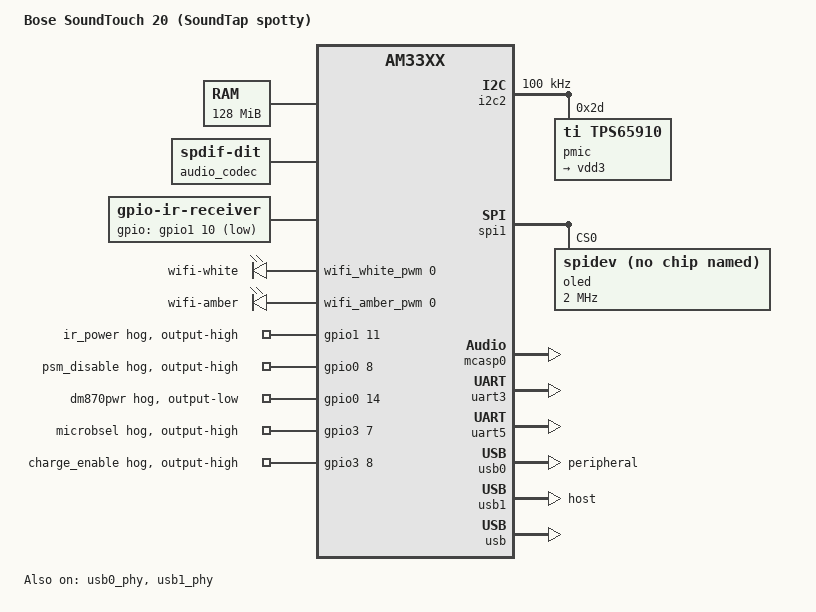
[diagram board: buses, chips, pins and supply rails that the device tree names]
// SPDX-License-Identifier: GPL-2.0-only
// SPDX-FileCopyrightText: 2026 SoundTap contributors
/dts-v1/;

#include "am33xx.dtsi"
#include <dt-bindings/gpio/gpio.h>
#include <dt-bindings/pinctrl/am33xx.h>
#include "am335x-soundtap-ramoops.dtsi"
/*
 * Persistent storage opens read-write, as on the Wireless Link. Read-only, the boot
 * script put a tmpfs over /mnt/nv, so wifi-independent settings, presets, the Spotify
 * login and the Dropbear host key were lost on every boot. The volume is shared with
 * stock and SoundTap writes only its own names in it; UBIFS keeps the on-flash format
 * version on a read-write mount, so stock's 3.14 kernel still mounts it.
 */
#define SOUNDTAP_NAND_PERSISTENT_RW soundtap,writable
/*
 * The environment opens too: stock U-Boot sets rt_try before it chainloads
 * mainline U-Boot and boots stock when the flag survives, so soundtapd has to be
 * able to clear it. Read-only, flash_erase failed with EACCES (2026-09-25) and
 * every second boot fell back to stock.
 */
#define SOUNDTAP_NAND_ENV_RW soundtap,writable
/*
 * The Ping/Pong pairs open so the stock installer's inactive slot can be rewritten.
 */
#define SOUNDTAP_NAND_SLOT_RW soundtap,writable
/*
 * SPL and U-Boot open as well, as on the WLA and ST10: /api/firmware replaces the boot
 * chain from Linux. The shared .dtsi defaults them read-only, so this must stay explicit.
 */
#define SOUNDTAP_NAND_BOOT_RW soundtap,writable
#include "am335x-soundtap-nand.dtsi"

/ {
	model = "Bose SoundTouch 20 (SoundTap spotty)";
	compatible = "bose,spotty-scm", "ti,am33xx";

	aliases {
		serial3 = &uart3;
		serial0 = &uart5;
	};

	chosen {
		stdout-path = "serial3:115200n8";
		bootargs = "console=ttyS3,115200n8 root=ubi0:rootfs ro rootfstype=ubifs ubi.mtd=9,2048 rootwait init=/init mem=128M cma=8M panic=10 omap_wdt.early_enable=1 variant=spotty module_type=scm country=GB region=GB soundtap.nandroot=1 soundtap.watchdog=90";
	};

	memory@80000000 {
		device_type = "memory";
		reg = <0x80000000 0x08000000>;
	};

	audio_codec: audio-codec {
		compatible = "linux,spdif-dit";
		#sound-dai-cells = <0>;
	};

	/* Same receiver, same pad as the ST10: uart0_rxd as gpio1_10, decoded by rc-core. */
	ir-receiver {
		compatible = "gpio-ir-receiver";
		gpios = <&gpio1 10 GPIO_ACTIVE_LOW>;
		pinctrl-names = "default";
		pinctrl-0 = <&ir_pins>;
		linux,autosuspend-period = <125>;
	};

	/*
	 * The Wi-Fi lamp above the OLED. Stock's spotty_scm shelbyleds drives uledw (white)
	 * from DM timer 5 and uledy (amber) from DM timer 6, each on its MDIO pad in mode 1,
	 * so both are PWM lamps, as the ST10's Wi-Fi white is. Same labels as the ST10, so
	 * soundtapd writes them the same way; brightness 0..255. Stock's uledg/uledr GPIOs
	 * (gpio1_19, gpio1_30) are left out until hardware shows they light anything.
	 */
	wifi_white_pwm: dmtimer-pwm-white {
		compatible = "ti,omap-dmtimer-pwm";
		#pwm-cells = <3>;
		ti,timers = <&timer5>;
		pinctrl-names = "default";
		pinctrl-0 = <&wifi_white_pwm_pins>;
	};

	wifi_amber_pwm: dmtimer-pwm-amber {
		compatible = "ti,omap-dmtimer-pwm";
		#pwm-cells = <3>;
		ti,timers = <&timer6>;
		pinctrl-names = "default";
		pinctrl-0 = <&wifi_amber_pwm_pins>;
	};

	pwm-leds {
		compatible = "pwm-leds";

		wifi-white {
			label = "wifi-white";
			pwms = <&wifi_white_pwm 0 1000000 0>;
			max-brightness = <255>;
			/* A dark speaker reads as a dead one, and soundtapd takes this lamp over later. */
			default-state = "on";
		};

		wifi-amber {
			label = "wifi-amber";
			pwms = <&wifi_amber_pwm 0 1000000 0>;
			max-brightness = <255>;
			default-state = "off";
		};
	};

	sound {
		compatible = "bose,soundtap-mcasp-audio";
		audio-cpu = <&mcasp0>;
		audio-codec = <&audio_codec>;
	};
};

/*
 * No UART driver for the infrared receiver: the ST10 route instead, proven there with a
 * remote. The UART-sampling driver bound here and produced /dev/ir, and a remote in front
 * of the ST20 produced no key event at all (2026-09-24).
 */
&gpio1 {
	/* What stock leaves high through UART0's idle transmit line; see ir_pins. */
	ir-power-hog {
		gpio-hog;
		gpios = <11 GPIO_ACTIVE_HIGH>;
		output-high;
		line-name = "ir_power";
	};
};

/*
 * GPIO2 holds the panel's reset (gpio2_18) and chip enable (gpio2_24) as U-Boot's boot
 * frame left them (ADR 0131). ti-sysc soft-reset the module ~0.7 s into boot, which turned
 * both into inputs and blanked the panel until soundtapd opened it some 13 s later (a bench
 * report). The target module has no label in am33xx-l4.dtsi, hence the path.
 */
&{/ocp/interconnect@48000000/segment@100000/target-module@ac000} {
	ti,no-reset-on-init;
};

/*
 * Every group here goes through AM33XX_PADCONF(pa, conf, mux), which takes the
 * *absolute* pad-control address and subtracts the 0x800 pinmux base itself. Raw cells
 * holding absolute addresses are rejected by pinctrl-single ("mux offset out of range":
 * am33xx_pinmux covers reg = <0x44e10800 0x238>) and the pads stay in their power-on
 * function. Use the macro; never the raw cells.
 *
 * The conf|mux values are byte-for-byte the stock spotty_scm.dtb groups
 * (spi0_pins_default, mcasp0_pins_default, gpiodev_pins_default).
 */
&am33xx_pinmux {
	/* The SCM wires NAND WP# to gpmc_wpn (stock spotty_scm nandflash_pins: 0x74 0x20); the
	 * SM2 modules (ST10, WLA) use that pad for Wi-Fi, so it stays out of the shared
	 * nand_pins. Unmuxed, WP# sits low and every erase and write is a silent no-op: under
	 * stock's bootloader it only worked because Bose's U-Boot had muxed it already. */
	nand_wp_pins: pinmux-nand-wp-pins {
		pinctrl-single,pins = <
			AM33XX_PADCONF(AM335X_PIN_GPMC_WPN, PIN_INPUT_PULLDOWN, MUX_MODE0)
		>;
	};

	ir_pins: pinmux-ir-pins {
		pinctrl-single,pins = <
			AM33XX_PADCONF(0x970, PIN_INPUT_PULLUP, MUX_MODE7)	/* uart0_rxd as gpio1_10 */
			AM33XX_PADCONF(0x974, PIN_OUTPUT, MUX_MODE7)	/* uart0_txd as gpio1_11, hogged high */
		>;
	};

	usb0_pins: pinmux-usb0-pins {
		pinctrl-single,pins = <
			AM33XX_PADCONF(0xa1c, 0x00, MUX_MODE0) /* usb0_drvvbus */
			AM33XX_PADCONF(0x910, 0x30, MUX_MODE7) /* mii1_rxerr, gpio3_2 */
		>;
	};

	usb1_pins: pinmux-usb1-pins {
		pinctrl-single,pins = <
			AM33XX_PADCONF(0xa34, 0x00, MUX_MODE0) /* usb1_drvvbus */
		>;
	};

	microbsel_pins: pinmux-microbsel-pins {
		pinctrl-single,pins = <
			AM33XX_PADCONF(0x9e4, 0x10, MUX_MODE7) /* microbsel     gpio3_7 */
			AM33XX_PADCONF(0x9e8, 0x10, MUX_MODE7) /* charge_enable gpio3_8 */
		>;
	};

	power_control_pins: pinmux-power-control-pins {
		pinctrl-single,pins = <
			AM33XX_PADCONF(0x8d0, 0x08, MUX_MODE7) /* psm_disable gpio0_8  */
			AM33XX_PADCONF(0x980, 0x10, MUX_MODE7) /* dm870pwr    gpio0_14 */
			/*
			 * clkout1: the BCO's reference clock. Stock U-Boot muxes it; the pad resets
			 * to GPIO, so without this line the BCO never enumerates when our SPL
			 * runs from the ROM. Measured 2026-09-27: with this pad at MODE7 there is
			 * no cdc_ether, and MODE3 a few seconds after BCO power-on brings the LAN
			 * up in 6 s with no power cycle needed.
			 */
			AM33XX_PADCONF(0x9b0, 0x00, MUX_MODE3) /* xdma_event_intr0 */
		>;
	};

	/* Stock spotty_scm.dtb: McASP0 is the playback link to the AIC3256 DSP. */
	mcasp0_pins: pinmux-mcasp0-pins {
		pinctrl-single,pins = <
			AM33XX_PADCONF(0x868, 0x20, MUX_MODE6) /* gpmc_a10       */
			AM33XX_PADCONF(0x930, 0x08, MUX_MODE6) /* mii1_rxclk     */
			AM33XX_PADCONF(0x990, 0x08, MUX_MODE0) /* mcasp0_aclkx   */
			AM33XX_PADCONF(0x99c, 0x20, MUX_MODE2) /* mcasp0_ahclkr  */
			AM33XX_PADCONF(0x9a8, 0x20, MUX_MODE0) /* mcasp0_axr1 tx */
			AM33XX_PADCONF(0x9ac, 0x08, MUX_MODE0) /* mcasp0_ahclkx  */
		>;
	};

	/* McSPI leaves codec MISO stuck high on mainline; GPIO bitbang is proven on hardware. */
	spi0_pins: pinmux-spi0-pins {
		pinctrl-single,pins = <
			AM33XX_PADCONF(0x950, 0x00, MUX_MODE7) /* gpio0_2 SCLK */
			AM33XX_PADCONF(0x954, 0x00, MUX_MODE7) /* gpio0_3 MOSI */
			AM33XX_PADCONF(0x958, 0x30, MUX_MODE7) /* gpio0_4 MISO */
			AM33XX_PADCONF(0x960, 0x10, MUX_MODE7) /* gpio0_6 CS   */
		>;
	};

	spi1_pins: pinmux-spi1-pins {
		pinctrl-single,pins = <
			AM33XX_PADCONF(0x964, 0x20, MUX_MODE4) /* ecap0_in_pwm0_out, spi1_sclk */
			AM33XX_PADCONF(0x994, 0x20, MUX_MODE3) /* mcasp0_fsx, spi1_d0 */
		>;
	};

	/* Stock spotty_scm.dtb i2c2_pins_default: uart1_ctsn/rtsn as I2C2, where the PMIC sits. */
	i2c2_pins: pinmux-i2c2-pins {
		pinctrl-single,pins = <
			AM33XX_PADCONF(0x978, 0x68, MUX_MODE3) /* i2c2_sda */
			AM33XX_PADCONF(0x97c, 0x68, MUX_MODE3) /* i2c2_scl */
		>;
	};

	oled_control_pins: pinmux-oled-control-pins {
		pinctrl-single,pins = <
			AM33XX_PADCONF(0x934, 0x00, MUX_MODE7) /* oled_ce    gpio2_24 */
			AM33XX_PADCONF(0x86c, 0x00, MUX_MODE7) /* oled_reset gpio2_18 */
			AM33XX_PADCONF(0x8e8, 0x00, MUX_MODE7) /* oled_d_c   gpio1_27 */
		>;
	};

	/* Stock spotty_scm.dtb keypad_pins_default; userspace polls, never IRQs. */
	keypad_pins: pinmux-keypad-pins {
		pinctrl-single,pins = <
			AM33XX_PADCONF(0x820, 0x30, MUX_MODE7) /* switch  gpio0_22 */
			AM33XX_PADCONF(0x824, 0x30, MUX_MODE7) /* switch  gpio0_23 */
			AM33XX_PADCONF(0x828, 0x30, MUX_MODE7) /* switch  gpio0_26 */
			AM33XX_PADCONF(0x920, 0x08, MUX_MODE7) /* strobe  gpio0_17 */
			AM33XX_PADCONF(0x928, 0x08, MUX_MODE7) /* strobe  gpio0_28 */
			AM33XX_PADCONF(0x9b4, 0x08, MUX_MODE7) /* strobe  gpio0_20 */
			AM33XX_PADCONF(0x944, 0x30, MUX_MODE7) /* direct  gpio0_29 */
		>;
	};

	/*
	 * Stock uart3_pins_default (stock names count from 1, so this is the one on
	 * serial@481a6000): the recovery console, ttyO3 under Bose and ttyS3 here, on
	 * mmc0_dat1 (rx) and mmc0_dat0 (tx).
	 */
	console_pins: pinmux-console-pins {
		pinctrl-single,pins = <
			AM33XX_PADCONF(0x8f8, 0x30, MUX_MODE3)
			AM33XX_PADCONF(0x8fc, 0x00, MUX_MODE3)
		>;
	};

	/* Stock uart5_pins_default: BCO sdsShell, 115200 baud. */
	bco_shell_pins: pinmux-bco-shell-pins {
		pinctrl-single,pins = <
			AM33XX_PADCONF(0x908, 0x30, MUX_MODE3)
			AM33XX_PADCONF(0x918, 0x00, MUX_MODE3)
		>;
	};

	/*
	 * Stock gpiodev_pins_default, minus the four pads power_control_pins and
	 * microbsel_pins already claim (psm_disable, dm870pwr, microbsel, charge_enable):
	 * pinctrl-single refuses a second claim on the same pad, so leaving them here
	 * would make this whole group fail exactly like the offsets used to.
	 *
	 * This is the group that muxes mute_out and ampstby as well as the three codec
	 * resets — without it, writing /sys/class/gpio/gpio49 or gpio55 does nothing.
	 */
	/* stock timer5_pins_default / timer6_pins_default: 0x14c 0x01, 0x148 0x01 */
	wifi_white_pwm_pins: pinmux-wifi-white-pwm-pins {
		pinctrl-single,pins = <
			AM33XX_PADCONF(0x94c, 0x00, MUX_MODE1) /* mdio_clk  timer5, wifi white */
		>;
	};

	wifi_amber_pwm_pins: pinmux-wifi-amber-pwm-pins {
		pinctrl-single,pins = <
			AM33XX_PADCONF(0x948, 0x00, MUX_MODE1) /* mdio_data timer6, wifi amber */
		>;
	};

	audio_control_pins: pinmux-audio-control-pins {
		pinctrl-single,pins = <
			AM33XX_PADCONF(0x924, 0x28, MUX_MODE7) /* pmic_int   gpio0_21 */
			AM33XX_PADCONF(0x82c, 0x30, MUX_MODE7) /* dcpresent  gpio0_27 */
			AM33XX_PADCONF(0x840, 0x20, MUX_MODE7) /* microbdet  gpio1_16 */
			AM33XX_PADCONF(0x844, 0x00, MUX_MODE7) /* mute_out   gpio1_17 = gpio49 */
			AM33XX_PADCONF(0x8d4, 0x20, MUX_MODE7) /* air_nreq   gpio0_9  */
			AM33XX_PADCONF(0x85c, 0x00, MUX_MODE7) /* ampstby    gpio1_23 = gpio55 */
			AM33XX_PADCONF(0x860, 0x30, MUX_MODE7) /* ampfault   gpio1_24 */
			AM33XX_PADCONF(0x8d8, 0x28, MUX_MODE7) /* BTle_reset gpio0_10 */
			AM33XX_PADCONF(0x9a4, 0x00, MUX_MODE7) /* dac_reset  gpio3_19 */
			AM33XX_PADCONF(0x998, 0x00, MUX_MODE7) /* adc_reset  gpio3_16 */
			AM33XX_PADCONF(0x9a0, 0x00, MUX_MODE7) /* dsp_reset  gpio3_18 */
		>;
	};
};

&gpio0 {
	pinctrl-names = "default";
	pinctrl-0 = <&power_control_pins &keypad_pins &spi0_pins>;

	psm-disable-hog {
		gpio-hog;
		gpios = <8 GPIO_ACTIVE_HIGH>;
		output-high;
		line-name = "psm_disable";
	};

	dm870pwr-hog {
		gpio-hog;
		gpios = <14 GPIO_ACTIVE_HIGH>;
		output-low;
		line-name = "dm870pwr";
	};
};

&gpio3 {
	pinctrl-names = "default";
	pinctrl-0 = <&microbsel_pins &audio_control_pins>;

	/*
	 * Routes the rear micro-B to usb0. Stock boots it low (initial = <0> in
	 * spotty_scm.dtb), then /opt/Bose/microbswitch sets it to the value of
	 * microbdet, and microbdet reads 1 with a host cable in ("Switching to
	 * DEVICE MODE"). Held low, usb0 saw no VBUS at all and the host saw
	 * no device, so the USB-TAP only existed under stock.
	 */
	microbsel-hog {
		gpio-hog;
		gpios = <7 GPIO_ACTIVE_HIGH>;
		output-high;
		line-name = "microbsel";
	};

	charge-enable-hog {
		gpio-hog;
		gpios = <8 GPIO_ACTIVE_HIGH>;
		output-high;
		line-name = "charge_enable";
	};
};

&spi0 {
	status = "disabled";
};

/*
 * The OLED panel runs off the TPS65910's VDD3 boost. Stock's panel driver asks for "vdd3"
 * (spotty_scm.dtb ssdspi@0 reg-name) and the PMIC does not keep it on through a cold
 * start, so without this node a power-cycled ST20 showed only a faint, washed-out image
 * although every SPI frame arrived (2026-09-30; the panel came back under stock).
 * Only VDD3 is described: the regulator core leaves the rails it has no node for alone.
 */
&i2c2 {
	pinctrl-names = "default";
	pinctrl-0 = <&i2c2_pins>;
	clock-frequency = <100000>;
	status = "okay";

	pmic@2d {
		compatible = "ti,tps65910";
		reg = <0x2d>;

		regulators {
			#address-cells = <1>;
			#size-cells = <0>;

			vdd3 {
				reg = <4>;
				regulator-compatible = "vdd3";
				regulator-name = "vdd3";
				regulator-always-on;
				regulator-boot-on;
			};
		};
	};
};


&spi1 {
	pinctrl-names = "default";
	pinctrl-0 = <&spi1_pins>;
	ti,pindir-d0-out-d1-in;
	status = "okay";

	oled@0 {
		compatible = "rohm,dh2228fv";
		reg = <0>;
		spi-max-frequency = <2000000>;
		spi-cpol;
		spi-cpha;
		pinctrl-names = "default";
		pinctrl-0 = <&oled_control_pins>;
	};
};

&mcasp0 {
	#sound-dai-cells = <0>;
	pinctrl-names = "default";
	pinctrl-0 = <&mcasp0_pins>;
	status = "okay";
	op-mode = <0>;
	tdm-slots = <2>;
	serial-dir = <2 1 0 0>;
	ti,tx-clock-only;
	tx-num-evt = <1>;
	rx-num-evt = <1>;
};

/*
 * The console the bootargs and stdout-path name. Without this node there is no ttyS3:
 * the kernel has no console and init's getty fails with "tcgetattr: I/O error".
 */
&uart3 {
	pinctrl-names = "default";
	pinctrl-0 = <&console_pins>;
	status = "okay";
};

&uart5 {
	pinctrl-names = "default";
	pinctrl-0 = <&bco_shell_pins>;
	status = "okay";
};

/*
 * The rear micro-USB. Peripheral, like the ST10 and the Wireless Link: a gadget console
 * and network that do not depend on the BCO, so a boot with nothing on the LAN still
 * has something to read. The recovery stick is read by U-Boot, before Linux, so
 * recovery does not need host here.
 */
&usb0 {
	pinctrl-names = "default";
	pinctrl-0 = <&usb0_pins>;
	dr_mode = "peripheral";
	status = "okay";
};

&usb0_phy {
	status = "okay";
};

/* USB1 is the internal host link to the BCO Ethernet/Wi-Fi processor. */
&usb1 {
	pinctrl-names = "default";
	pinctrl-0 = <&usb1_pins>;
	dr_mode = "host";
	status = "okay";
};

&usb1_phy {
	status = "okay";
};

&usb {
	status = "okay";
};

&gpmc {
	pinctrl-0 = <&nand_pins &nand_wp_pins>;
};
